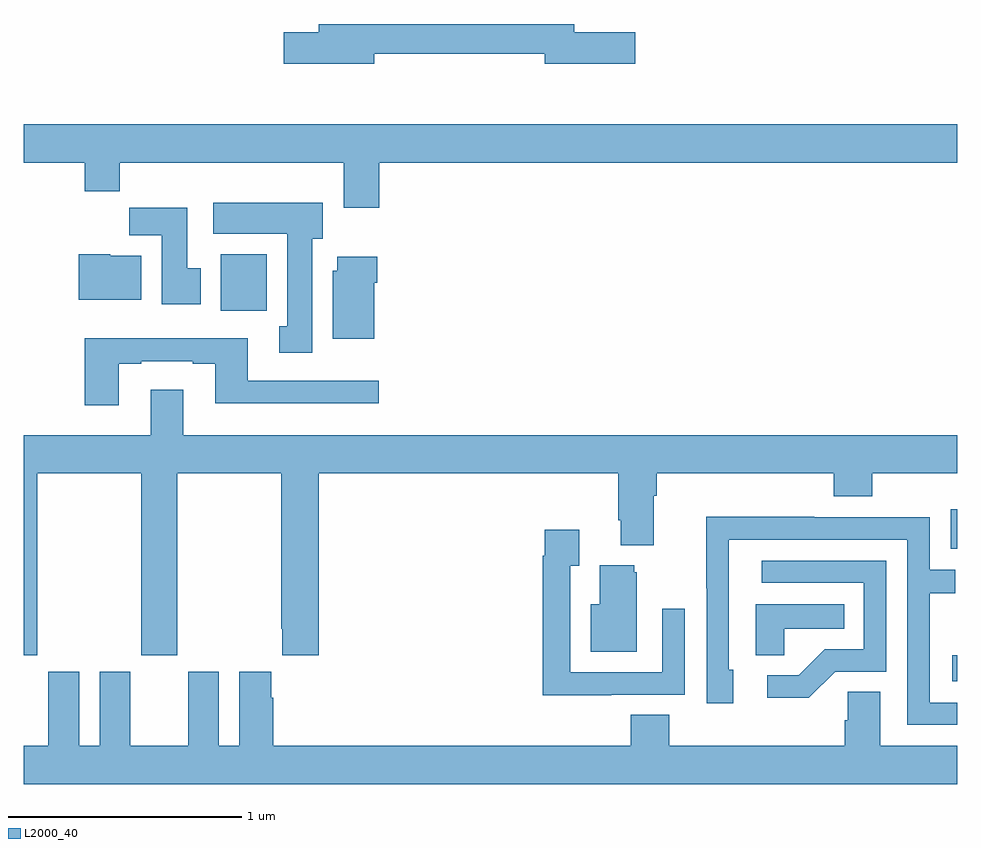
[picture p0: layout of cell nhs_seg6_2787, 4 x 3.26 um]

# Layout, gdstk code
import gdstk
lib = gdstk.Library(unit=1e-6, precision=1e-09)
def R(c, l, rs):  # rectangles x0, y0, x1, y1
    for r in rs: c.add(gdstk.rectangle(r[:2], r[2:], *l))
def P(c, l, *ps):  # polygons
    for p in ps: c.add(gdstk.Polygon(p, *l))
L2000_40 = (2000, 40)

nhs_seg6_2787 = lib.new_cell('nhs_seg6_2787')
R(nhs_seg6_2787, L2000_40, [(278.979,958.433,279,958.543), (278.973,959.001,279,959.17), (275.843,960.02,276.04,960.262)])
P(nhs_seg6_2787, L2000_40, [(276.502,961.122),(277.232,961.122),(277.232,961.079),(277.621,961.079),(277.621,961.214),(277.36,961.214),(277.36,961.25),(276.263,961.25),(276.263,961.214),(276.114,961.214),(276.114,961.079),(276.502,961.079)],
  [(276.524,960.656),(279,960.656),(279,960.82),(275,960.82),(275,960.656),(275.26,960.656),(275.26,960.532),(275.411,960.532),(275.411,960.656),(276.371,960.656),(276.371,960.462),(276.524,960.462)],
  [(276.235,960.33),(276.28,960.33),(276.28,960.484),(275.811,960.484),(275.811,960.35),(276.128,960.35),(276.128,959.954),(276.095,959.954),(276.095,959.841),(276.235,959.841)],
  [(275.758,960.204),(275.701,960.204),(275.701,960.463),(275.452,960.463),(275.452,960.344),(275.591,960.344),(275.591,960.048),(275.758,960.048)],
  [(275.503,960.256),(275.37,960.256),(275.37,960.262),(275.234,960.262),(275.234,960.068),(275.503,960.068)],
  [(276.502,960.14),(276.515,960.14),(276.515,960.253),(276.344,960.253),(276.344,960.192),(276.323,960.192),(276.323,959.9),(276.502,959.9)],
  [(275.407,959.793),(275.503,959.793),(275.503,959.805),(275.723,959.805),(275.723,959.793),(275.819,959.793),(275.819,959.624),(276.52,959.624),(276.52,959.721),(275.959,959.721),(275.959,959.902),(275.26,959.902),(275.26,959.616),(275.407,959.616)],
  [(275.058,959.324),(275.503,959.324),(275.503,958.545),(275.658,958.545),(275.658,959.324),(276.103,959.324),(276.103,958.657),(276.107,958.657),(276.107,958.545),(276.263,958.545),(276.263,959.324),(277.547,959.324),(277.547,959.122),(277.559,959.122),(277.559,959.015),(277.699,959.015),(277.699,959.228),(277.712,959.228),(277.712,959.324),(278.471,959.324),(278.471,959.225),(278.636,959.225),(278.636,959.324),(279,959.324),(279,959.488),(275.683,959.488),(275.683,959.683),(275.543,959.683),(275.543,959.488),(275,959.488),(275,958.545),(275.058,958.545)],
  [(279,958.341),(278.883,958.341),(278.883,958.81),(278.993,958.81),(278.993,958.911),(278.883,958.911),(278.883,959.136),(278.387,959.136),(278.387,959.138),(277.924,959.138),(277.924,958.831),(277.926,958.831),(277.926,958.338),(278.041,958.338),(278.041,958.482),(278.022,958.482),(278.022,959.04),(278.787,959.04),(278.787,958.245),(279,958.245)],
  [(277.517,958.374),(277.833,958.374),(277.833,958.744),(277.737,958.744),(277.737,958.47),(277.341,958.47),(277.341,958.927),(277.381,958.927),(277.381,959.083),(277.233,959.083),(277.233,958.97),(277.225,958.97),(277.225,958.373),(277.517,958.373)],
  [(278.478,958.473),(278.697,958.473),(278.697,958.95),(278.163,958.95),(278.163,958.854),(278.601,958.854),(278.601,958.569),(278.432,958.569),(278.321,958.458),(278.187,958.458),(278.187,958.361),(278.365,958.361)],
  [(277.627,958.899),(277.616,958.899),(277.616,958.93),(277.469,958.93),(277.469,958.762),(277.43,958.762),(277.43,958.559),(277.627,958.559)],
  [(278.259,958.658),(278.516,958.658),(278.516,958.762),(278.138,958.762),(278.138,958.543),(278.259,958.543)],
  [(279,958.156),(278.671,958.156),(278.671,958.388),(278.532,958.388),(278.532,958.265),(278.519,958.265),(278.519,958.156),(277.766,958.156),(277.766,958.289),(277.601,958.289),(277.601,958.156),(276.068,958.156),(276.068,958.361),(276.061,958.361),(276.061,958.474),(275.924,958.474),(275.924,958.156),(275.836,958.156),(275.836,958.474),(275.705,958.474),(275.705,958.156),(275.455,958.156),(275.455,958.474),(275.324,958.474),(275.324,958.156),(275.236,958.156),(275.236,958.474),(275.105,958.474),(275.105,958.156),(275,958.156),(275,957.992),(279,957.992)])

lib.write_gds('nhs_seg6_2787.gds')
